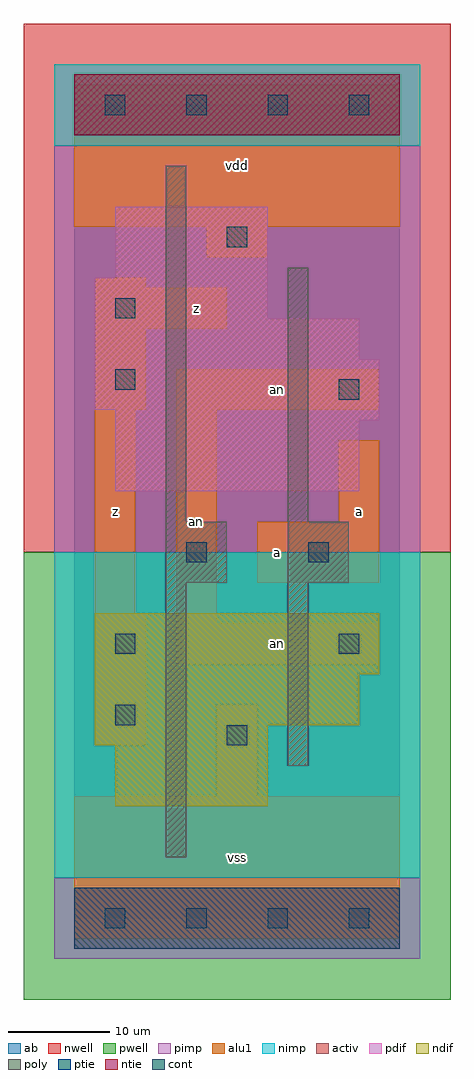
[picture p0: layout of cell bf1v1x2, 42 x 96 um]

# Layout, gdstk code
import gdstk
lib = gdstk.Library(unit=1e-6, precision=1e-09)
def R(c, l, rs):  # rectangles x0, y0, x1, y1
    for r in rs: c.add(gdstk.rectangle(r[:2], r[2:], *l))
def A(c, l, x, y, w, h, nx, ny, dx, dy):  # array of equal rectangles
    R(c, l, [(x+i*dx, y+j*dy, x+i*dx+w, y+j*dy+h) for i in range(nx) for j in range(ny)])
ndif = (3, 0)
pdif = (4, 0)
ntie = (5, 0)
ptie = (6, 0)
cont = (25, 0)
pwell = (41, 0)
nwell = (42, 0)
activ = (43, 0)
pimp = (44, 0)
nimp = (45, 0)
poly = (46, 0)
alu1 = (49, 0)
ab = (63, 0)

bf1v1x2 = lib.new_cell('bf1v1x2')
R(bf1v1x2, ndif, [(4,11,19,17), (2,17,19,19), (2,19,28,24), (2,24,30,30)])
R(bf1v1x2, pdif, [(4,42,28,49), (4,49,30,50), (2,50,30,55), (2,55,28,59), (2,59,19,63), (4,63,19,70)])
R(bf1v1x2, ntie, [(0,77,32,83)])
R(bf1v1x2, ptie, [(0,-3,32,3)])
A(bf1v1x2, cont, 3, -1, 2, 2, 4, 2, 8, 80)
R(bf1v1x2, cont, [(15,17,17,19), (4,19,6,21), (4,26,6,28), (26,26,28,28), (11,35,13,37), (23,35,25,37), (26,51,28,53), (4,52,6,54), (4,59,6,61), (15,66,17,68)])
R(bf1v1x2, pwell, [(-5,-8,37,36)])
R(bf1v1x2, nwell, [(-5,36,37,88)])
R(bf1v1x2, activ, [(0,-3,32,3), (4,11,19,17), (2,17,19,19), (2,19,28,24), (2,24,30,30), (4,42,28,49), (4,49,30,50), (2,50,30,55), (2,55,28,59), (2,59,19,63), (4,63,19,70), (0,77,32,83)])
R(bf1v1x2, pimp, [(-2,-4,34,4), (-2,36,34,76)])
R(bf1v1x2, nimp, [(-2,4,34,36), (-2,76,34,84)])
R(bf1v1x2, poly, [(9,6,11,33), (21,15,23,33), (9,33,15,39), (21,33,27,39), (9,39,11,74), (21,39,23,64)])
R(bf1v1x2, alu1, [(0,-2,32,12), (14,12,18,21), (2,17,7,30), (10,25,30,29), (10,29,14,50), (2,30,6,50), (18,33,30,39), (26,39,30,47), (2,50,7,58), (10,50,30,54), (2,58,15,62), (2,62,7,63), (13,65,19,68), (0,68,32,82)])
R(bf1v1x2, ab, [(0,0,32,80)])
bf1v1x2.add(gdstk.Label('an', (12,39), layer=49, texttype=0))
bf1v1x2.add(gdstk.Label('an', (20,27), layer=49, texttype=0))
bf1v1x2.add(gdstk.Label('an', (20,52), layer=49, texttype=0))
bf1v1x2.add(gdstk.Label('z', (4,40), layer=49, texttype=0))
bf1v1x2.add(gdstk.Label('vss', (16,6), layer=49, texttype=0))
bf1v1x2.add(gdstk.Label('z', (12,60), layer=49, texttype=0))
bf1v1x2.add(gdstk.Label('vdd', (16,74), layer=49, texttype=0))
bf1v1x2.add(gdstk.Label('a', (20,36), layer=49, texttype=0))
bf1v1x2.add(gdstk.Label('a', (28,40), layer=49, texttype=0))

lib.write_gds('bf1v1x2.gds')
